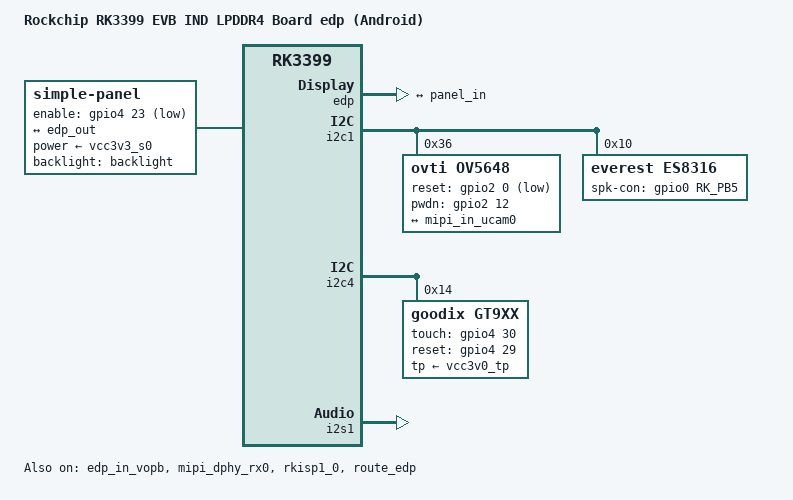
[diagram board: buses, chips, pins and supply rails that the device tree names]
// SPDX-License-Identifier: (GPL-2.0+ OR MIT)
/*
 * Copyright (c) 2019 Fuzhou Rockchip Electronics Co., Ltd
 */

/dts-v1/;

#include "rk3399-evb-ind-r73.dtsi"
#include "rk3399-android.dtsi"

/ {
	model = "Rockchip RK3399 EVB IND LPDDR4 Board edp (Android)";
	compatible = "rockchip,android", "rockchip,rk3399-evb-ind-lpddr4-android-r73", "rockchip,rk3399";
	chosen: chosen {
		bootargs = "earlycon=uart8250,mmio32,0xff1a0000 console=ttyFIQ0 androidboot.baseband=N/A androidboot.veritymode=enforcing androidboot.hardware=rk30board androidboot.console=ttyFIQ0 init=/init initrd=0x62000001,0x00800000 coherent_pool=1m";
	};

	iram: sram@ff8d0000 {
		compatible = "mmio-sram";
		reg = <0x0 0xff8d0000 0x0 0x20000>;
	};

/*
	vcc_lcd: vcc-lcd {
		compatible = "regulator-fixed";
		regulator-name = "vcc_lcd";
		startup-delay-us = <20000>;
		enable-active-high;
		regulator-min-microvolt = <3300000>;
		regulator-max-microvolt = <3300000>;
		regulator-boot-on;
		vin-supply = <&vcc_sys>;
	};
*/
	panel: panel {
		compatible = "simple-panel";
		backlight = <&backlight>;
		power-supply = <&vcc3v3_s0>;
		enable-gpios = <&gpio4 23 GPIO_ACTIVE_LOW>;

		//WF1413 panel
		//prepare-delay-ms = <20>;
		//reset-delay-ms = <20>;
		//enable-delay-ms = <20>;
		
		//WF1713 panel
		reset-delay-ms = <20>;
		init-delay-ms = <20>;
		enable-delay-ms = <200>;
		prepare-delay-ms = <200>;
		
		bpc = <6>; //rocky test
		bus-format = <MEDIA_BUS_FMT_RGB666_1X18>;//rocky test
		display-timings {
			native-mode = <&timing0>;

			timing0: timing0 {
			clock-frequency = <130000000>;	
			hactive = <1920>;
			vactive = <1080>;										
			hback-porch = <48>;
			hfront-porch = <210>;
			vback-porch = <20>;
			vfront-porch = <30>;																
			hsync-len = <52>;
			vsync-len = <10>;								
			hsync-active = <0>;
			vsync-active = <0>;
			de-active = <0>;
			pixelclk-active = <0>;
			swap-rb = <0>;
			swap-rg = <0>;
			swap-gb = <0>;
			};
		};

		ports {
			panel_in: endpoint {
				remote-endpoint = <&edp_out>;
			};
		};
	};

	test-power {
		status = "okay";
	};
};

&backlight {
	enable-gpios = <&gpio1 2 GPIO_ACTIVE_HIGH>;
	pinctrl-names = "default"; 
	pinctrl-0 = <&bl_en>; 
};

&dmac_bus {
	iram = <&iram>;
	rockchip,force-iram;
};
/*
&dp_sound {
	status = "disabled";
};*/

&edp {
	status = "okay";
	force-hpd;

	ports {
		port@1 {
			reg = <1>;			
			#address-cells = <1>;
			#size-cells = <0>;

			edp_out: endpoint@0 {
				reg = <0>;
				remote-endpoint = <&panel_in>;
			};
		};
	};
};

&edp_in_vopb {
	status = "okay";
};
&edp_in_vopl {
	status = "disabled";
};
&i2c1 {
	status = "okay";
	ov5648: ov5648@36 {
		compatible = "ovti,ov5648";
		status = "okay";
		reg = <0x36>;
		clocks = <&cru SCLK_CIF_OUT>;
		clock-names = "xvclk";
		/* avdd-supply = <>; */
		/* dvdd-supply = <>; */
		/* dovdd-supply = <>; */
		/* reset-gpios = <>; */
		//dovdd-supply = <&vcc1v8_dvp>;          
		reset-gpios = <&gpio2 0 GPIO_ACTIVE_LOW>; 
		pwdn-gpios = <&gpio2 12 GPIO_ACTIVE_HIGH>;
		pinctrl-names = "rockchip,camera_default";
		pinctrl-0 = <&cif_clkout>;
		rockchip,camera-module-index = <0>;
		rockchip,camera-module-facing = "front";
		rockchip,camera-module-name = "default";
		rockchip,camera-module-lens-name = "default";                

		port {
			ucam_out0: endpoint {
				remote-endpoint = <&mipi_in_ucam0>;
				//remote-endpoint = <&mipi_in_ucam1>;
				data-lanes = <1 2>;
			};
		};
    };

    es8316: es8316@10 {
		status = "okay";
		#sound-dai-cells = <0>;
		compatible = "everest,es8316";
		reg = <0x10>;
		clocks = <&cru SCLK_I2S_8CH_OUT>;
		clock-names = "mclk";
		pinctrl-names = "default";
		pinctrl-0 = <&i2s_8ch_mclk>;

		spk-con-gpio = <&gpio0 RK_PB5 GPIO_ACTIVE_HIGH>;//LPDDR4
		//hp-con-gpio = <&gpio4 23 GPIO_ACTIVE_HIGH>;
		spk_volume = <0xaa>;///4o3w  3v

		extcon = <&rk_headset>;		
	};
};

&i2c4{
	status = "okay";

	gt9xx: gt9xx@14 {
		compatible = "goodix,gt9xx";
		reg = <0x14>;
		touch-gpio = <&gpio4 30 IRQ_TYPE_LEVEL_LOW>;
		reset-gpio = <&gpio4 29 GPIO_ACTIVE_HIGH>;
		//max-x = <1200>;
		//max-y = <1900>;
		tp-size = <970>;
		max-x = <1280>;
		max-y = <800>;
		tp-supply = <&vcc3v0_tp>;	
	};
};

&isp0_mmu {
	status = "okay";
};

&isp1_mmu {
	status = "okay";
};

&mipi_dphy_rx0 {
	status = "okay";

	ports {
		#address-cells = <1>;
		#size-cells = <0>;

		port@0 {
			reg = <0>;
			#address-cells = <1>;
			#size-cells = <0>;

			mipi_in_ucam0: endpoint@1 {
				reg = <1>;
				remote-endpoint = <&ucam_out0>;
				data-lanes = <1 2>;
			};
		};

		port@1 {
			reg = <1>;
			#address-cells = <1>;
			#size-cells = <0>;

			dphy_rx0_out: endpoint@0 {
				reg = <0>;
				remote-endpoint = <&isp0_mipi_in>;
			};
		};
	};
};


&rkisp1_0 {
	status = "okay";

	port {
		#address-cells = <1>;
		#size-cells = <0>;

		isp0_mipi_in: endpoint@0 {
			reg = <0>;
			remote-endpoint = <&dphy_rx0_out>;
		};
	};
};

&route_edp {
	connect = <&vopb_out_edp>;
	status = "okay";
};

&i2s1 {
	#sound-dai-cells = <0>;
	status = "okay";
};


/*
 * if enable dp_sound, should disable spdif_sound and spdif_out
 */
 /*
&spdif_out {
	status = "disabled";
};

&spdif_sound {
	status = "disabled";
};

&i2s0 {
	#sound-dai-cells = <0>;
	status = "okay";
};
*/
//modify by pirlo for hdmi sound
&i2s2 {
	#sound-dai-cells = <0>;
	status = "disabled";
};

&hdmi_dp_sound {
	status = "disabled";
};


&route_hdmi {
        status = "disabled";
};
 
&pinctrl {
	lcd-panel {
		bl_en: bl-en {
			rockchip,pins = <1 2 RK_FUNC_GPIO &pcfg_pull_up>;
		};
	};
};

